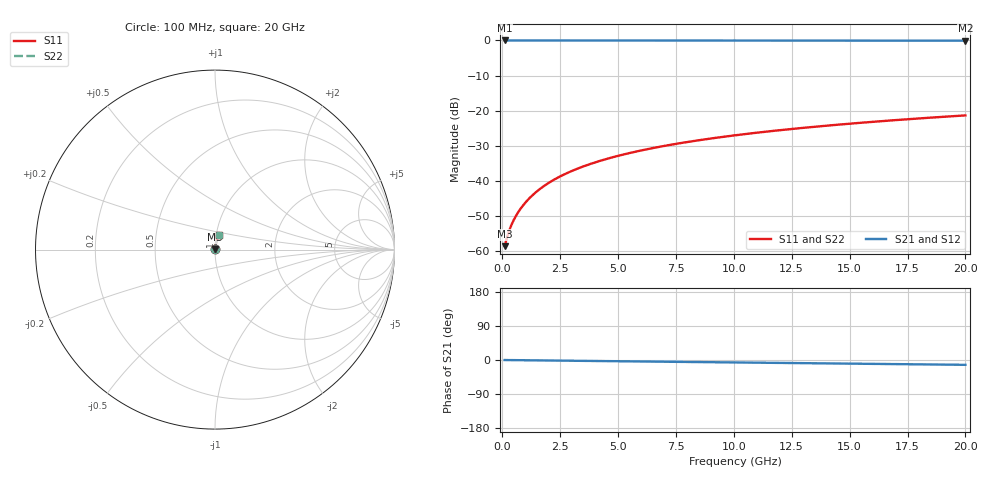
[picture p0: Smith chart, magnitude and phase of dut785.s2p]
! Touchstone file exported from HFSS 2026.1.0
!  File:  C:/ffzhzh/LocalFiles/Ansys_Project_Files/temp_train_TMRDL_785_1783155840_55132.aedt
!  Generated:  05:05:11 PM Jul  4, 2026
!  Design:  TMRDL
!  Project:  temp_train_TMRDL_785_1783155840_55132
! Variables:
!  h_bsmrdl = 2um
!  h_ox = 20um
!  h_rdl = 5um
!  h_sub = 80um
!  h_tmrdl = 3.28um
!  h_tsv = 80um
!  h_via = 3um
!  l_bsmrdl = 300um
!  l_sub = 582.93um
!  l_tmrdl = 182.93um
!  m_sub = 200um
!  pitch = 38.44um
!  r_tsv = 6um
!  s_tmrdl = 10um
!  w_bsmrdl = 18um
!  w_sub = 500um
!  w_tmrdl = 25.72um
!  x_tsv_center1 = 195.79um
!  x_tsv_center2 = 513.79um
!  x_tsv_center3 = 722.44um
!  x_tsv_center4 = 1040.44um
!  x_tsv_center5 = 1249.09um
!  x_tsv_center6 = 1567.09um
# GHz S MA R 50.000000
! Terminal data exported
! Port[1] = TM_RDL1_1_T1
! Port[2] = TM_RDL1_1_T2
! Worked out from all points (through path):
!   200 points, 100 MHz to 20 GHz, reference 50 ohm
!   highest |S21| = -0.01 dB at 100 MHz (marker M1); lowest = -0.1 dB at 20 GHz (marker M2)
!   group delay of S21, straight-line fit = 1.77 ps
!   lowest |S11| = -58.5 dB at 100 MHz (marker M3), VSWR 1.00, Z = 50.1 + j0.0568 ohm
!   |S11| at or under -10 dB: start of sweep to end of sweep
!   |S22| runs from -58.5 to -21.3 dB; largest |S21 - S12| = 4.2e-15
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0.1  0.001185 28.6  0.999 -0.1  0.999 -0.1  0.001185 28.6
! Gamma 0 0 0 0
! Port Impedance 50 0 50 0
0.2  0.001561 44.6  0.9989 -0.1  0.9989 -0.1  0.001561 44.6
0.3  0.00198 53.1  0.9988 -0.2  0.9988 -0.2  0.00198 53.1
0.4  0.0024 58.5  0.9988 -0.3  0.9988 -0.3  0.0024 58.5
0.5  0.002817 62.4  0.9987 -0.3  0.9987 -0.3  0.002817 62.4
0.6  0.003236 65.4  0.9987 -0.4  0.9987 -0.4  0.003236 65.4
0.8  0.004083 69.8  0.9986 -0.5  0.9986 -0.5  0.004083 69.8
1  0.004947 72.8  0.9986 -0.7  0.9986 -0.7  0.004947 72.8
1.2  0.005823 74.9  0.9985 -0.8  0.9985 -0.8  0.005823 74.9
1.4  0.006708 76.5  0.9985 -0.9  0.9985 -0.9  0.006708 76.5
1.7  0.008046 78.1  0.9985 -1.1  0.9985 -1.1  0.008046 78.1
2.2  0.01029 79.8  0.9984 -1.4  0.9984 -1.4  0.01029 79.8
2.8  0.01299 80.8  0.9983 -1.8  0.9983 -1.8  0.01299 80.8
3.5  0.01614 81.4  0.9981 -2.3  0.9981 -2.3  0.01614 81.4
4.2  0.01927 81.6  0.9979 -2.7  0.9979 -2.7  0.01927 81.6
5  0.02283 81.5  0.9977 -3.3  0.9977 -3.3  0.02283 81.5
6.8  0.03074 81.0  0.9971 -4.4  0.9971 -4.4  0.03074 81.0
8.3  0.03723 80.3  0.9965 -5.4  0.9965 -5.4  0.03723 80.3
10.1  0.04492 79.4  0.9958 -6.5  0.9958 -6.5  0.04492 79.4
13.4  0.05878 77.7  0.9945 -8.6  0.9945 -8.6  0.05878 77.7
16.7  0.07242 75.9  0.9931 -10.7  0.9931 -10.7  0.07242 75.9
20  0.08585 74.1  0.9916 -12.7  0.9916 -12.7  0.08585 74.1
